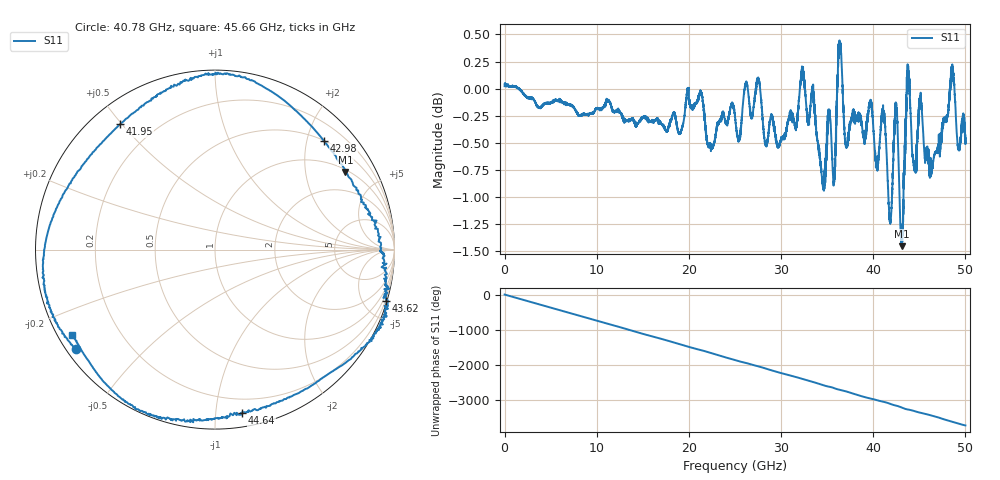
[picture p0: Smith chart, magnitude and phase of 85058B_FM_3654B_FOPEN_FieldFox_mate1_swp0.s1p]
!Created with skrf (http://scikit-rf.org).
# Hz S RI R 50.0
!freq ReS11 ImS11
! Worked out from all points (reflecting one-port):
!   10001 points, 300 kHz to 50 GHz, reference 50 ohm
!   lowest |S11| = -1.5 dB at 43.1 GHz (marker M1), VSWR 11.99, Z = 54.3 + j165 ohm
!   phase of S11 starts at 0 deg and turns -3715 deg over the sweep
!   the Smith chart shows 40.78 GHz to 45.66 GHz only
!   S11 on the Smith chart (normalised r, x): 40.78 GHz: 0.03, -0.32; 41.95 GHz: 0.08, +0.50; 42.98 GHz: 0.50, +2.32; 43.62 GHz: 0.10, -6.84; 44.64 GHz: 0.10, -1.18; 45.66 GHz: 0.04, -0.28
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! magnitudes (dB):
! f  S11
! 300 kHz  0.0
! 6.25 GHz  -0.1
! 12.5 GHz  -0.2
! 18.75 GHz  -0.4
! 25 GHz  -0.2
! 27.49 GHz  0.1
! 31.25 GHz  -0.2
! 32.33 GHz  0.2
! 34.52 GHz  -0.8
! 35.21 GHz  -0.2
! 35.72 GHz  -0.9
! 36.41 GHz  0.4
! 37.01 GHz  -0.5
! 37.5 GHz  -0.3
! 40.78 GHz  -0.4
! 41.17 GHz  -0.3
! 41.95 GHz  -1.1
! 42.48 GHz  -0.2
! 42.98 GHz  -1.3
! 43.1 GHz  -1.5
! 43.62 GHz  0.0
! 43.75 GHz  0.1
! 44.64 GHz  -0.7
! 45.11 GHz  -0.1
! 45.66 GHz  -0.7
! 48.58 GHz  0.2
! 49.24 GHz  -0.6
! 50 GHz  -0.5
